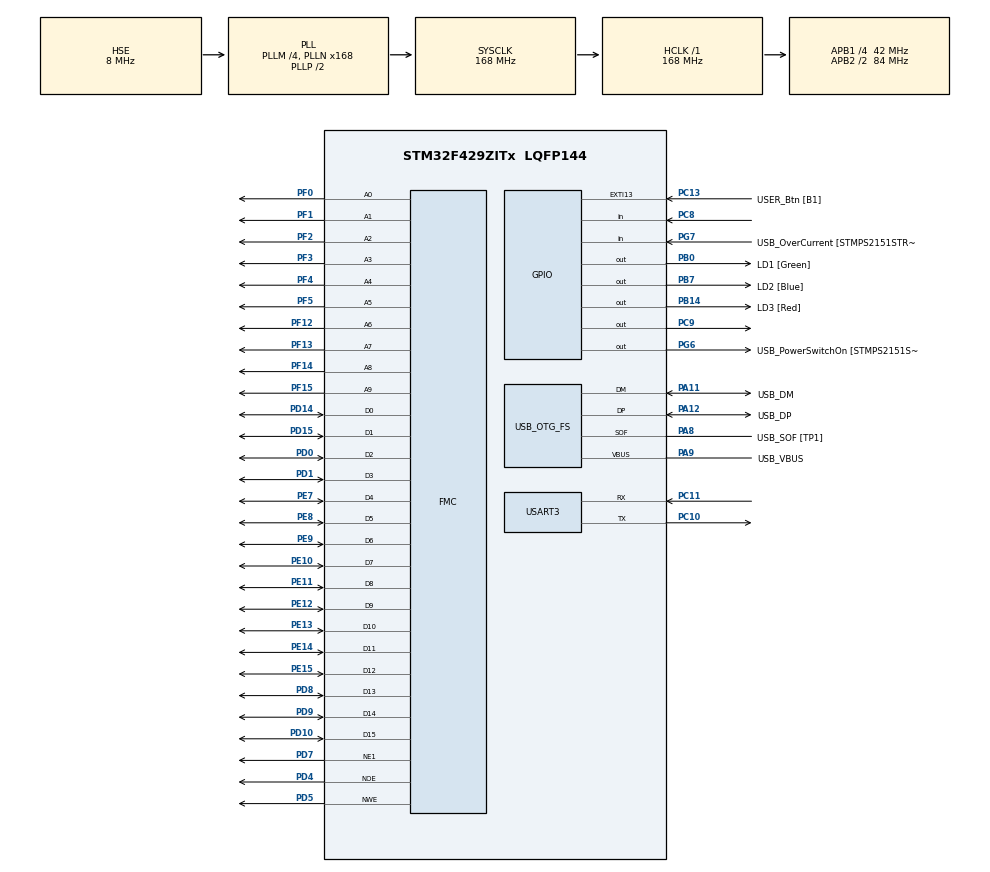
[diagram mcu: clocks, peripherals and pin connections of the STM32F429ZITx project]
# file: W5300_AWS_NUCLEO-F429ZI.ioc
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FMC.AddressSetupTime1=3
FMC.BusTurnAroundDuration1=4
FMC.DataSetupTime1=3
FMC.WriteOperation1=FMC_WRITE_OPERATION_ENABLE
FREERTOS.Tasks01=defaultTask,24,128,StartDefaultTask,Default,NULL,Dynamic,NULL,NULL
FREERTOS.configUSE_NEWLIB_REENTRANT=1
MBEDTLS.MBEDTLS_SSL_CLI_C=0
Mcu.Family=STM32F4
Mcu.Name=STM32F429ZITx
Mcu.Package=LQFP144
NVIC.PriorityGroup=NVIC_PRIORITYGROUP_4
NVIC.TIM6_DAC_IRQn=true\:15\:0\:false\:false\:true\:false\:false\:true\:true
NVIC.TimeBase=TIM6_DAC_IRQn
NVIC.TimeBaseIP=TIM6
PA1.GPIO_Label=RMII_REF_CLK [LAN8742A-CZ-TR_REFCLK0]
PA1.Signal=ETH_REF_CLK
PA10.GPIO_Label=USB_ID
PA10.Signal=USB_OTG_FS_ID
PA11.GPIO_Label=USB_DM
PA11.Mode=Device_Only
PA11.Signal=USB_OTG_FS_DM
PA12.GPIO_Label=USB_DP
PA12.Mode=Device_Only
PA12.Signal=USB_OTG_FS_DP
PA13.GPIO_Label=TMS
PA13.Mode=Serial_Wire
PA13.Signal=SYS_JTMS-SWDIO
PA14.GPIO_Label=TCK
PA14.Mode=Serial_Wire
PA14.Signal=SYS_JTCK-SWCLK
PA2.GPIO_Label=RMII_MDIO [LAN8742A-CZ-TR_MDIO]
PA2.Signal=ETH_MDIO
PA7.GPIO_Label=RMII_CRS_DV [LAN8742A-CZ-TR_CRS_DV]
PA7.Signal=ETH_CRS_DV
PA8.GPIO_Label=USB_SOF [TP1]
PA8.Mode=Activate_SOF_FS
PA8.Signal=USB_OTG_FS_SOF
PA9.GPIO_Label=USB_VBUS
PA9.Mode=Activate_VBUS
PA9.Signal=USB_OTG_FS_VBUS
PB0.GPIO_Label=LD1 [Green]
PB0.Signal=GPIO_Output
PB13.GPIO_Label=RMII_TXD1 [LAN8742A-CZ-TR_TXD1]
PB13.Signal=ETH_TXD1
PB14.GPIO_Label=LD3 [Red]
PB14.Signal=GPIO_Output
PB7.GPIO_Label=LD2 [Blue]
PB7.Signal=GPIO_Output
PC1.GPIO_Label=RMII_MDC [LAN8742A-CZ-TR_MDC]
PC1.Signal=ETH_MDC
PC10.Mode=Asynchronous
PC10.Signal=USART3_TX
PC11.Mode=Asynchronous
PC11.Signal=USART3_RX
PC13.GPIO_Label=USER_Btn [B1]
PC13.Signal=GPXTI13
PC14/OSC32_IN.Mode=LSE-External-Oscillator
PC14/OSC32_IN.Signal=RCC_OSC32_IN
PC15/OSC32_OUT.Mode=LSE-External-Oscillator
PC15/OSC32_OUT.Signal=RCC_OSC32_OUT
PC4.GPIO_Label=RMII_RXD0 [LAN8742A-CZ-TR_RXD0]
PC4.Signal=ETH_RXD0
PC5.GPIO_Label=RMII_RXD1 [LAN8742A-CZ-TR_RXD1]
PC5.Signal=ETH_RXD1
PC8.Signal=GPIO_Input
PC9.Signal=GPIO_Output
PD0.Signal=FMC_D2_DA2
PD1.Signal=FMC_D3_DA3
PD10.Signal=FMC_D15_DA15
PD14.Signal=FMC_D0_DA0
PD15.Signal=FMC_D1_DA1
PD4.Signal=FMC_NOE
PD5.Signal=FMC_NWE
PD7.Mode=NorPsramChipSelect1_1
PD7.Signal=FMC_NE1
PD8.Signal=FMC_D13_DA13
PD9.Signal=FMC_D14_DA14
PE10.Signal=FMC_D7_DA7
PE11.Signal=FMC_D8_DA8
PE12.Signal=FMC_D9_DA9
PE13.Signal=FMC_D10_DA10
PE14.Signal=FMC_D11_DA11
PE15.Signal=FMC_D12_DA12
PE7.Signal=FMC_D4_DA4
PE8.Signal=FMC_D5_DA5
PE9.Signal=FMC_D6_DA6
PF0.Signal=FMC_A0
PF1.Signal=FMC_A1
PF12.Signal=FMC_A6
PF13.Signal=FMC_A7
PF14.Signal=FMC_A8
PF15.Signal=FMC_A9
PF2.Signal=FMC_A2
PF3.Signal=FMC_A3
PF4.Signal=FMC_A4
PF5.Signal=FMC_A5
PG11.GPIO_Label=RMII_TX_EN [LAN8742A-CZ-TR_TXEN]
PG11.Signal=ETH_TX_EN
PG13.GPIO_Label=RMII_TXD0 [LAN8742A-CZ-TR_TXD0]
PG13.Signal=ETH_TXD0
PG6.GPIO_Label=USB_PowerSwitchOn [STMPS2151STR_EN]
PG6.Signal=GPIO_Output
PG7.GPIO_Label=USB_OverCurrent [STMPS2151STR_FAULT]
PG7.Signal=GPIO_Input
PH0/OSC_IN.GPIO_Label=MCO [STM32F103CBT6_PA8]
PH0/OSC_IN.Mode=HSE-External-Clock-Source
PH0/OSC_IN.Signal=RCC_OSC_IN
PH1/OSC_OUT.Mode=HSE-External-Clock-Source
PH1/OSC_OUT.Signal=RCC_OSC_OUT
ProjectManager.HeapSize=0x200
ProjectManager.StackSize=0x400
ProjectManager.TargetToolchain=STM32CubeIDE
RCC.48MHZClocksFreq_Value=48000000
RCC.AHBFreq_Value=168000000
RCC.APB1CLKDivider=RCC_HCLK_DIV4
RCC.APB1Freq_Value=42000000
RCC.APB1TimFreq_Value=84000000
RCC.APB2CLKDivider=RCC_HCLK_DIV2
RCC.APB2Freq_Value=84000000
RCC.APB2TimFreq_Value=168000000
RCC.CortexFreq_Value=168000000
RCC.HCLKFreq_Value=168000000
RCC.HSE_VALUE=8000000
RCC.HSI_VALUE=16000000
RCC.PLLM=4
RCC.PLLMUL=RCC_PLL_MUL9
RCC.PLLN=168
RCC.PLLQ=7
RCC.PRESCALERUSB=RCC_USBCLKSOURCE_PLL_DIV1_5
RCC.SYSCLKFreq_VALUE=168000000
RCC.SYSCLKSource=RCC_SYSCLKSOURCE_PLLCLK
RCC.SYSCLKSourceVirtual=RCC_SYSCLKSOURCE_PLLCLK
RCC.USBFreq_Value=48000000
RCC.VCOOutputFreq_Value=336000000
SH.FMC_A0.0=FMC_A0,10b-a1
SH.FMC_A1.0=FMC_A1,10b-a1
SH.FMC_A2.0=FMC_A2,10b-a1
SH.FMC_A3.0=FMC_A3,10b-a1
SH.FMC_A4.0=FMC_A4,10b-a1
SH.FMC_A5.0=FMC_A5,10b-a1
SH.FMC_A6.0=FMC_A6,10b-a1
SH.FMC_A7.0=FMC_A7,10b-a1
SH.FMC_A8.0=FMC_A8,10b-a1
SH.FMC_A9.0=FMC_A9,10b-a1
SH.FMC_D0_DA0.0=FMC_D0,16b-d1
SH.FMC_D10_DA10.0=FMC_D10,16b-d1
SH.FMC_D11_DA11.0=FMC_D11,16b-d1
SH.FMC_D12_DA12.0=FMC_D12,16b-d1
SH.FMC_D13_DA13.0=FMC_D13,16b-d1
SH.FMC_D14_DA14.0=FMC_D14,16b-d1
SH.FMC_D15_DA15.0=FMC_D15,16b-d1
SH.FMC_D1_DA1.0=FMC_D1,16b-d1
SH.FMC_D2_DA2.0=FMC_D2,16b-d1
SH.FMC_D3_DA3.0=FMC_D3,16b-d1
SH.FMC_D4_DA4.0=FMC_D4,16b-d1
SH.FMC_D5_DA5.0=FMC_D5,16b-d1
SH.FMC_D6_DA6.0=FMC_D6,16b-d1
SH.FMC_D7_DA7.0=FMC_D7,16b-d1
SH.FMC_D8_DA8.0=FMC_D8,16b-d1
SH.FMC_D9_DA9.0=FMC_D9,16b-d1
SH.FMC_NOE.0=FMC_NOE,Sram1
SH.FMC_NWE.0=FMC_NWE,Sram1
USART3.VirtualMode=VM_ASYNC
USB_OTG_FS.VirtualMode=Device_Only
VP_FREERTOS_VS_CMSIS_V2.Mode=CMSIS_V2
VP_MBEDTLS_VS_MBEDTLS.Mode=Enabled
VP_SYS_VS_tim6.Mode=TIM6
board=NUCLEO-F429ZI

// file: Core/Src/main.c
/* USER CODE BEGIN Header */
/**
  ******************************************************************************
  * @file           : main.c
  * @brief          : Main program body
  ******************************************************************************
  * @attention
  *
  * Copyright (c) 2023 STMicroelectronics.
  * All rights reserved.
  *
  * This software is licensed under terms that can be found in the LICENSE file
  * in the root directory of this software component.
  * If no LICENSE file comes with this software, it is provided AS-IS.
  *
  ******************************************************************************
  */
/* USER CODE END Header */
#include "main.h"
#include "cmsis_os.h"
#include "mbedtls.h"
#include "usart.h"
#include "usb_otg.h"
#include "gpio.h"
#include "fmc.h"

/* USER CODE BEGIN Includes */
#include <stdio.h>
#include "wizchip_conf.h"
#include "w5x00_network.h"
#include "w5x00_bus.h"

#include "mqtt_transport_interface.h"
#include "ssl_transport_interface.h"

#include "mqtt_certificate.h"
/* USER CODE END Includes */

void SystemClock_Config(void);
void MX_FREERTOS_Init(void);

/* USER CODE BEGIN 0 */
  wiz_NetInfo net_info = {
          .mac = {0x00, 0x08, 0xDC, 0x12, 0x34, 0x56}, // MAC address
          .ip = {192, 168, 11, 104},                     // IP address
          .sn = {255, 255, 255, 0},                    // Subnet Mask
          .gw = {192, 168, 11, 1},                     // Gateway
          .dns = {8, 8, 8, 8},                         // DNS server
          .dhcp = NETINFO_STATIC                     // NETINFO_STATIC
  };
/* USER CODE END 0 */

int main(void)
{

  /* MCU Configuration--------------------------------------------------------*/

  /* Reset of all peripherals, Initializes the Flash interface and the Systick. */
  HAL_Init();

  /* Configure the system clock */
  SystemClock_Config();

  /* Initialize all configured peripherals */
  MX_GPIO_Init();
  MX_USB_OTG_FS_PCD_Init();
  MX_FMC_Init();
  MX_USART3_UART_Init();
  //MX_MBEDTLS_Init();
  /* Call PreOsInit function */
  //MX_MBEDTLS_Init();
  /* USER CODE BEGIN 2 */
  wizchip_network_initialize(&net_info);

	  printf("hello freeRTOS 1\r\n");
  /* USER CODE END 2 */

  /* Init scheduler */
  osKernelInitialize();  /* Call init function for freertos objects (in freertos.c) */
  MX_FREERTOS_Init();

  /* Start scheduler */
  osKernelStart();

  /* We should never get here as control is now taken by the scheduler */
  /* Infinite loop */
  /* USER CODE BEGIN WHILE */
  printf("hello freeRTOS 3\r\n\r\n");
  while (1)
  {
    /* USER CODE END WHILE */

  }
}

void SystemClock_Config(void)
{
  RCC_OscInitTypeDef RCC_OscInitStruct = {0};
  RCC_ClkInitTypeDef RCC_ClkInitStruct = {0};

  /** Configure the main internal regulator output voltage
  */
  __HAL_RCC_PWR_CLK_ENABLE();
  __HAL_PWR_VOLTAGESCALING_CONFIG(PWR_REGULATOR_VOLTAGE_SCALE1);

  /** Initializes the RCC Oscillators according to the specified parameters
  * in the RCC_OscInitTypeDef structure.
  */
  RCC_OscInitStruct.OscillatorType = RCC_OSCILLATORTYPE_HSE;
  RCC_OscInitStruct.HSEState = RCC_HSE_BYPASS;
  RCC_OscInitStruct.PLL.PLLState = RCC_PLL_ON;
  RCC_OscInitStruct.PLL.PLLSource = RCC_PLLSOURCE_HSE;
  RCC_OscInitStruct.PLL.PLLM = 4;
  RCC_OscInitStruct.PLL.PLLN = 168;
  RCC_OscInitStruct.PLL.PLLP = RCC_PLLP_DIV2;
  RCC_OscInitStruct.PLL.PLLQ = 7;
  if (HAL_RCC_OscConfig(&RCC_OscInitStruct) != HAL_OK)
  {
    Error_Handler();
  }

  /** Initializes the CPU, AHB and APB buses clocks
  */
  RCC_ClkInitStruct.ClockType = RCC_CLOCKTYPE_HCLK|RCC_CLOCKTYPE_SYSCLK
                              |RCC_CLOCKTYPE_PCLK1|RCC_CLOCKTYPE_PCLK2;
  RCC_ClkInitStruct.SYSCLKSource = RCC_SYSCLKSOURCE_PLLCLK;
  RCC_ClkInitStruct.AHBCLKDivider = RCC_SYSCLK_DIV1;
  RCC_ClkInitStruct.APB1CLKDivider = RCC_HCLK_DIV4;
  RCC_ClkInitStruct.APB2CLKDivider = RCC_HCLK_DIV2;

  if (HAL_RCC_ClockConfig(&RCC_ClkInitStruct, FLASH_LATENCY_5) != HAL_OK)
  {
    Error_Handler();
  }
}

void HAL_TIM_PeriodElapsedCallback(TIM_HandleTypeDef *htim)
{
  if (htim->Instance == TIM6) {
    HAL_IncTick();
  }
}

void Error_Handler(void)
{
  __disable_irq();
  while (1)
  {
  }
}

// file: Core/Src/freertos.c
/* USER CODE BEGIN Header */
/**
  ******************************************************************************
  * File Name          : freertos.c
  * Description        : Code for freertos applications
  ******************************************************************************
  * @attention
  *
  * Copyright (c) 2023 STMicroelectronics.
  * All rights reserved.
  *
  * This software is licensed under terms that can be found in the LICENSE file
  * in the root directory of this software component.
  * If no LICENSE file comes with this software, it is provided AS-IS.
  *
  ******************************************************************************
  */
/* USER CODE END Header */

#include "FreeRTOS.h"
#include "task.h"
#include "main.h"
#include "cmsis_os.h"

/* USER CODE BEGIN Includes */
#include <stdio.h>
#include "loopback.h"
//#include "w5x00_network.h"
/* USER CODE END Includes */

/* USER CODE BEGIN PM */
#define SOCKET_LOOPBACK 0
#define PORT_LOOPBACK 5000
#define ETHERNET_BUF_MAX_SIZE 2048
/* USER CODE END PM */

static uint8_t g_loopback_buf[ETHERNET_BUF_MAX_SIZE] = {
    0,
};
/* USER CODE BEGIN Variables */
osThreadId_t test2TaskHandle;
const osThreadAttr_t test2Task_attributes = {
  .name = "test2Task",
  .stack_size = 128 * 4,
  .priority = (osPriority_t) osPriorityNormal,
};

osThreadId_t testTaskHandle;
const osThreadAttr_t testTask_attributes = {
  .name = "testTask",
  .stack_size = 128 * 4,
  .priority = (osPriority_t) osPriorityNormal,
};
/* USER CODE END Variables */
/* Definitions for defaultTask */
osThreadId_t defaultTaskHandle;
const osThreadAttr_t defaultTask_attributes = {
  .name = "defaultTask",
  .stack_size = 128 * 4,
  .priority = (osPriority_t) osPriorityNormal,
};

/* USER CODE BEGIN FunctionPrototypes */
void testDefaultTask(void *argument);
void test2DefaultTask(void *argument);
/* USER CODE END FunctionPrototypes */

void StartDefaultTask(void *argument);

void MX_FREERTOS_Init(void); /* (MISRA C 2004 rule 8.1) */

void MX_FREERTOS_Init(void) {

  /* Create the thread(s) */
  /* creation of defaultTask */
  defaultTaskHandle = osThreadNew(StartDefaultTask, NULL, &defaultTask_attributes);

  /* USER CODE BEGIN RTOS_THREADS */
  /* add threads, ... */
  testTaskHandle = osThreadNew(testDefaultTask, NULL, &testTask_attributes);
  test2TaskHandle = osThreadNew(test2DefaultTask, NULL, &test2Task_attributes);

  /* USER CODE END RTOS_THREADS */

}

/* USER CODE BEGIN Header_StartDefaultTask */
void testDefaultTask(void *argument){
	int retval = 0;

	while(1){
		if ((retval = loopback_tcps(SOCKET_LOOPBACK, g_loopback_buf, PORT_LOOPBACK)) < 0){
			  printf(" Loopback error : %d\n", retval);
		}
	}
}

void test2DefaultTask(void *argument){

	while(1){
		printf("test~~ \r\n");
		HAL_Delay(1000);
	}
}

/**
  * @brief  Function implementing the defaultTask thread.
  * @param  argument: Not used
  * @retval None
  */
/* USER CODE END Header_StartDefaultTask */
void StartDefaultTask(void *argument)
{
  for(;;)
  {
    osDelay(1);
  }
}
